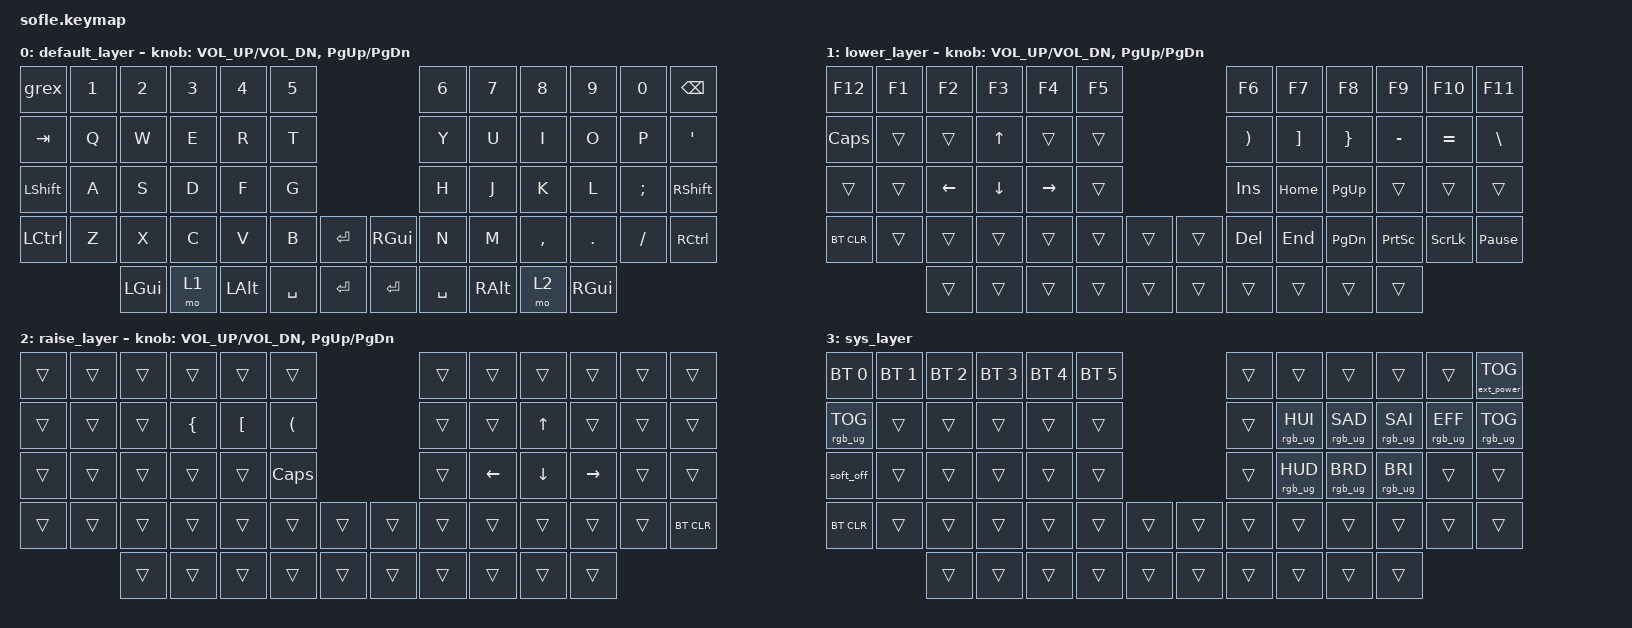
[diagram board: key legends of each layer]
/*
 * Copyright (c) 2020 The ZMK Contributors
 *
 * SPDX-License-Identifier: MIT
 */

#include <behaviors.dtsi>
#include <dt-bindings/zmk/keys.h>
#include <dt-bindings/zmk/rgb.h>
#include <dt-bindings/zmk/ext_power.h>
#include <dt-bindings/zmk/bt.h>

/ {

    behaviors {
        grex: grave_escape_mod {
            compatible = "zmk,behavior-mod-morph";
            label = "GRAVE_ESCAPE_MOD";
            #binding-cells = <0>;
            bindings = <&kp ESC>, <&kp GRAVE>;
            mods = <(MOD_LSFT|MOD_RSFT)>;
            keep-mods = <(MOD_LSFT)>;
        };
    };

    keymap {
        compatible = "zmk,keymap";

        default_layer {
// ------------------------------------------------------------------------------------------------------------
// | `|ESC |  1  |  2  |  3   |  4   |  5   |                   |  6   |  7    |  8    |  9   |   0   | BKSPC |
// |  TAB  |  Q  |  W  |  E   |  R   |  T   |                   |  Y   |  U    |  I    |  O   |   P   |   '   |
// | SHIFT |  A  |  S  |  D   |  F   |  G   |                   |  H   |  J    |  K    |  L   |   ;   | SHIFT |
// |  CTRL |  Z  |  X  |  C   |  V   |  B   |       |  |        |  N   |  M    |  ,    |  .   |   /   |  CTRL |
//               | GUI | LOWER| ALT  | ENTER| SPACE |  |  SPACE | ENTER|  ALT  | RAISE | GUI  |
            bindings = <
&grex     &kp N1 &kp N2   &kp N3   &kp N4    &kp N5                      &kp N6 &kp N7    &kp N8    &kp N9   &kp N0   &kp BSPC
&kp TAB   &kp Q  &kp W    &kp E    &kp R     &kp T                       &kp Y  &kp U     &kp I     &kp O    &kp P    &kp QUOT
&kp LSHFT &kp A  &kp S    &kp D    &kp F     &kp G                       &kp H  &kp J     &kp K     &kp L    &kp SEMI &kp RSHFT
&kp LCTRL &kp Z  &kp X    &kp C    &kp V     &kp B     &kp RET  &kp RGUI &kp N  &kp M     &kp COMMA &kp DOT  &kp FSLH &kp RCTRL
                 &kp LGUI &mo 1    &kp LALT  &kp SPACE &kp RET   &kp RET &kp SPACE &kp RALT &mo 2  &kp RGUI
            >;

            sensor-bindings = <&inc_dec_kp C_VOL_UP C_VOL_DN &inc_dec_kp PG_UP PG_DN>;
        };

        lower_layer {
// TODO: Some binds are waiting for shifted keycode support.
// ------------------------------------------------------------------------------------------------------------
// | F12   |  F1 |  F2 |  F3  |  F4  |  F5  |                   |  F6  |  F7   |  F8   |  F9  |  F10  |  F11  |
// | CAPS  |     |     |  ^   |      |      |                   |   )  |   ]   |   }   |   -  |   =   |   \   |
// |       |     |  <- |  v   |  ->  |      |                   |  INS | HOME  |  PGUP |      |       |       |
// | BT_CLR|     |     |      |      |      |        |  |       |  DEL |  END  |  PGDN | PSCR | SLCK  | PAUSE |
//               |     |      |      |      |        |  |       |      |       |       |      |
            bindings = <
&kp F12    &kp F1    &kp F2    &kp F3      &kp F4     &kp F5                    &kp F6    &kp F7   &kp F8    &kp F9    &kp F10   &kp F11
&kp CLCK   &trans    &trans    &kp UP      &trans     &trans                    &kp RPAR  &kp RBKT &kp RBRC  &kp MINUS &kp EQUAL &kp BSLH
&trans     &trans    &kp LEFT  &kp DOWN    &kp RIGHT  &trans                    &kp INS   &kp HOME &kp PG_UP &trans    &trans    &trans
&bt BT_CLR &trans    &trans    &trans      &trans     &trans    &trans   &trans &kp DEL   &kp END  &kp PG_DN &kp PSCRN &kp SLCK  &kp PAUSE_BREAK
                     &trans    &trans      &trans     &trans    &trans   &trans &trans    &trans   &trans    &trans
            >;

            sensor-bindings = <&inc_dec_kp C_VOL_UP C_VOL_DN &inc_dec_kp PG_UP PG_DN>;
        };

        raise_layer {
// ------------------------------------------------------------------------------------------------------------
// |     |       |       |       |       |       |                |      |      |       |      |       |       |
// |     |       |       |   {   |   [   |  (    |                |      |      |   ^   |      |       |       |
// |     |       |       |       |       | CAPS  |                |      |   <- |   v   |  ->  |       |       |
// |     |       |       |       |       |       |      |  |      |      |      |       |      |       | BT_CLR|
//               |       |       |       |       |      |  |      |      |      |       |      |
            bindings = <
&trans   &trans          &trans          &trans          &trans            &trans                              &trans      &trans     &trans    &trans    &trans     &trans
&trans   &trans          &trans          &kp LBRC        &kp LBKT          &kp LPAR                            &trans      &trans     &kp UP    &trans    &trans     &trans
&trans   &trans          &trans          &trans          &trans            &kp CLCK                            &trans      &kp LEFT   &kp DOWN  &kp RIGHT &trans     &trans
&trans   &trans          &trans          &trans          &trans            &trans            &trans  &trans    &trans      &trans     &trans    &trans    &trans     &bt BT_CLR
                         &trans          &trans          &trans            &trans            &trans  &trans    &trans      &trans     &trans    &trans
            >;

            sensor-bindings = <&inc_dec_kp C_VOL_UP C_VOL_DN &inc_dec_kp PG_UP PG_DN>;
        };

        sys_layer {
            bindings = <
                &bt BT_SEL 0    &bt BT_SEL 1 &bt BT_SEL 2 &bt BT_SEL 3 &bt BT_SEL 4 &bt BT_SEL 5                               &trans  &trans          &trans          &trans          &trans          &ext_power EP_TOG
                &rgb_ug RGB_TOG &trans       &trans       &trans       &trans       &trans                                     &trans  &rgb_ug RGB_HUI &rgb_ug RGB_SAD &rgb_ug RGB_SAI &rgb_ug RGB_EFF &rgb_ug RGB_TOG
                &soft_off       &trans       &trans       &trans       &trans       &trans                                     &trans  &rgb_ug RGB_HUD &rgb_ug RGB_BRD &rgb_ug RGB_BRI &trans          &trans
                &bt BT_CLR      &trans       &trans       &trans       &trans       &trans        &trans         &trans        &trans  &trans          &trans          &trans          &trans          &trans
                                             &trans       &trans       &trans       &trans        &trans         &trans        &trans  &trans          &trans          &trans
            >;
        };
    };

    conditional_layers {
        compatible = "zmk,conditional-layers";
        tri_layer {
            if-layers = <1 2>;
            then-layer = <3>;
        };
    };
};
